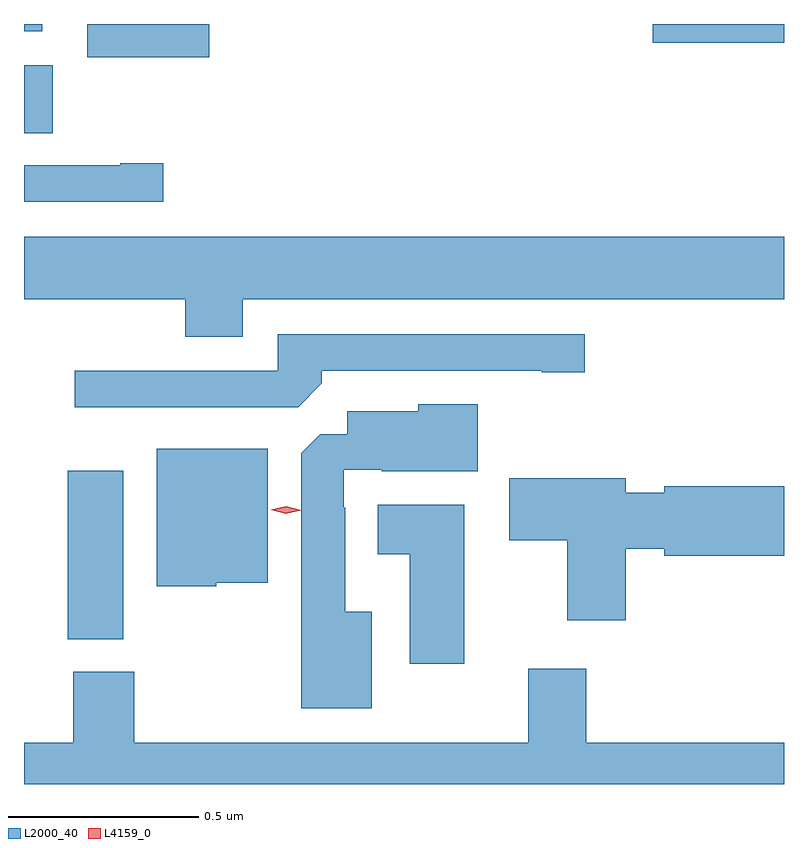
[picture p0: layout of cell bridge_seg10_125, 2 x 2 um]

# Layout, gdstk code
import gdstk
lib = gdstk.Library(unit=1e-6, precision=1e-09)
def R(c, l, rs):  # rectangles x0, y0, x1, y1
    for r in rs: c.add(gdstk.rectangle(r[:2], r[2:], *l))
def P(c, l, *ps):  # polygons
    for p in ps: c.add(gdstk.Polygon(p, *l))
L2000_40 = (2000, 40)
L4159_0 = (4159, 0)

bridge_seg10_125 = lib.new_cell('bridge_seg10_125')
R(bridge_seg10_125, L2000_40, [(382.688,1279.441,382.834,1279.885), (382.573,1280.773,382.649,1280.952), (382.74,1280.972,383.06,1281.06), (384.228,1281.011,384.573,1281.06), (382.573,1281.041,382.621,1281.06)])
P(bridge_seg10_125, L2000_40, [(382.939,1280.693),(382.826,1280.693),(382.826,1280.688),(382.573,1280.688),(382.573,1280.592),(382.939,1280.592)],
  [(383.149,1280.336),(384.573,1280.336),(384.573,1280.5),(382.573,1280.5),(382.573,1280.336),(382.997,1280.336),(382.997,1280.237),(383.149,1280.237)],
  [(383.357,1280.114),(383.357,1280.148),(383.936,1280.148),(383.936,1280.143),(384.049,1280.143),(384.049,1280.244),(383.241,1280.244),(383.241,1280.148),(382.707,1280.148),(382.707,1280.052),(383.295,1280.052)],
  [(383.488,1279.513),(383.419,1279.513),(383.419,1279.787),(383.415,1279.787),(383.415,1279.887),(383.515,1279.887),(383.515,1279.883),(383.767,1279.883),(383.767,1280.059),(383.61,1280.059),(383.61,1280.041),(383.423,1280.041),(383.423,1279.98),(383.352,1279.98),(383.303,1279.931),(383.303,1279.259),(383.488,1279.259)],
  [(383.079,1279.589),(383.215,1279.589),(383.215,1279.942),(382.922,1279.942),(382.922,1279.58),(383.079,1279.58)],
  [(384.157,1279.679),(384.258,1279.679),(384.258,1279.661),(384.573,1279.661),(384.573,1279.844),(384.258,1279.844),(384.258,1279.826),(384.157,1279.826),(384.157,1279.864),(383.85,1279.864),(383.85,1279.702),(384.002,1279.702),(384.002,1279.491),(384.157,1279.491)],
  [(383.731,1279.795),(383.504,1279.795),(383.504,1279.664),(383.588,1279.664),(383.588,1279.377),(383.731,1279.377)],
  [(384.573,1279.168),(384.053,1279.168),(384.053,1279.363),(383.9,1279.363),(383.9,1279.168),(382.863,1279.168),(382.863,1279.356),(382.703,1279.356),(382.703,1279.168),(382.573,1279.168),(382.573,1279.06),(384.573,1279.06)])
P(bridge_seg10_125, L4159_0, [(383.262,1279.771),(383.222,1279.782),(383.222,1279.782),(383.222,1279.782),(383.263,1279.791),(383.303,1279.781),(383.303,1279.78),(383.303,1279.78)])

lib.write_gds('bridge_seg10_125.gds')
